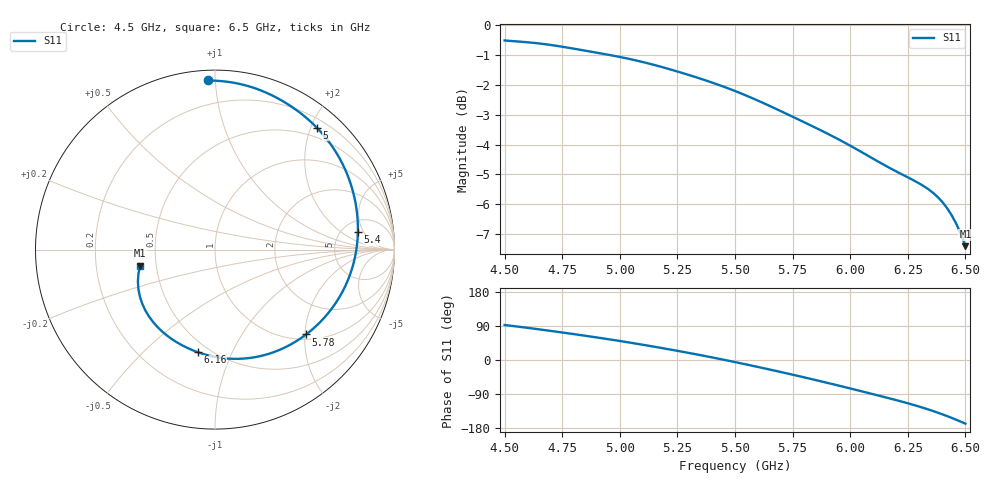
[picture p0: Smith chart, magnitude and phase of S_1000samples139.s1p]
! TOUCHSTONE file generated by CST MICROWAVE STUDIO
! Date and time: Thu Oct 27 03:26:30 2022
! Project name: L.cst
! Parameters = {Di=1.27; Epsilon_r=1.56; InnerDiameter=1.27; Length=2; Lf=10; Lg=60; OuterConductorThickness=0.2921; OuterDiameter=3.6; Wf=3; Wp=41.2; de=1.5; df=6.8; g=0.8; gx=3.76065; gy=3.75254; h=2.34; hf=1.524; px=12.4123; py=13.3386; w=9.7; wx=8.65166; wy=9.58606}
! Header version: 2018
! Port assignment regex: !\s*Touchstone port\s*([0-9]+)\s*=\s*(CST MWS port|CST DS port)\s*([0-9]+|Zmin|Zmax)\s*\(\"(.*)\"\)(\s*mode\s*([0-9]+))?.*
! Touchstone port assignment:
! Touchstone port 1 = CST MWS port 1 ("")
# GHz S DB R 50
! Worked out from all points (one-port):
!   101 points, 4.5 GHz to 6.5 GHz, reference 50 ohm
!   lowest |S11| = -7.4 dB at 6.5 GHz (marker M1), VSWR 2.48, Z = 20.3 - j4.42 ohm
!   |S11| at or under -10 dB: nowhere
!   S11 on the Smith chart (normalised r, x): 4.5 GHz: 0.06, +0.96; 5 GHz: 0.33, +2.09; 5.4 GHz: 7.02, +3.78; 5.78 GHz: 1.11, -2.03; 6.16 GHz: 0.43, -0.75; 6.5 GHz: 0.41, -0.09
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4.5  -0.51 92.4
4.64  -0.60 81.7
4.76  -0.73 71.7
4.88  -0.89 61.3
5  -1.06 50.2
5.06  -1.16 44.2
5.14  -1.31 36.0
5.26  -1.57 23.1
5.34  -1.76 14.0
5.4  -1.92 6.9
5.5  -2.20 -5.5
5.56  -2.39 -13.2
5.62  -2.60 -21.1
5.68  -2.81 -29.2
5.76  -3.10 -40.2
5.78  -3.18 -43.0
5.84  -3.40 -51.5
5.9  -3.63 -60.2
5.96  -3.87 -69.1
6  -4.04 -75.1
6.08  -4.39 -87.2
6.16  -4.74 -99.6
6.26  -5.14 -115.9
6.34  -5.50 -130.7
6.4  -5.93 -143.3
6.44  -6.37 -152.6
6.46  -6.65 -157.6
6.5  -7.41 -167.9
